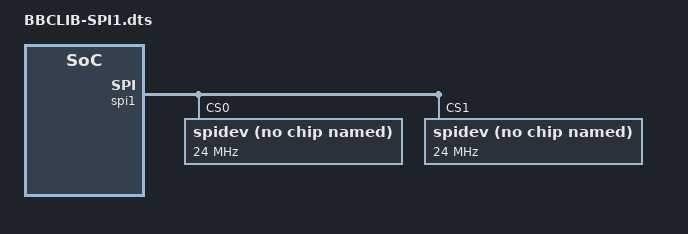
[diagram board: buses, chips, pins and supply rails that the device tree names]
/dts-v1/;
/plugin/;

/ {
    compatible      = "ti,beaglebone", "ti,beaglebone-black";

    part-number     = "BBCLIB-SPI1";
    version         = "00A0";

    exclusive-use   =
        "P9.31",    /* spi1_sclk */
        "P9.29",    /* spi1_d0 */
        "P9.30",    /* spi1_d1 */
        "P9.28",    /* spi1_cs0 */
        // "P9.42",    /* spi1_cs1 */
        "spi1";     /* the hardware ip uses */

    fragment@0 {
        target      = <&am33xx_pinmux>;
        __overlay__ {
            bb_spi1_pins: pinmux_bb_spi1_pins {
                pinctrl-single,pins = <
                    0x190 0x33      /* mcasp0_aclkx.spi1_sclk,      INPUT_PULLUP  | MODE3 */
                    0x194 0x33      /* mcasp0_fsx.spi1_d0,          INPUT_PULLUP  | MODE3 */
                    0x198 0x13      /* mcasp0_axr0.spi1_d1,         OUTPUT_PULLUP | MODE3 */
                    0x19c 0x13      /* mcasp0_ahclkr.spi1_cs0,      OUTPUT_PULLUP | MODE3 */
                    // 0x164 0x12   /* eCAP0_in_PWM0_out.spi1_cs1   OUTPUT_PULLUP | MODE2 */
                >;
            };
        };
    };

    fragment@1 {
        target = <&spi1>;
        __overlay__ {
            #address-cells  = <1>;
            #size-cells     = <0>;

            status          = "okay";
            pinctrl-names   = "default";
            pinctrl-0       = <&bb_spi1_pins>;    

            spidev@0{
                compatible          = "spidev";
                reg                 = <0>;
                spi-max-frequency   = <24000000>;
            };
            spidev@1{
                compatible          = "spidev";
                reg                 = <1>;
                spi-max-frequency   = <24000000>;
            };            
        };
    };
};
